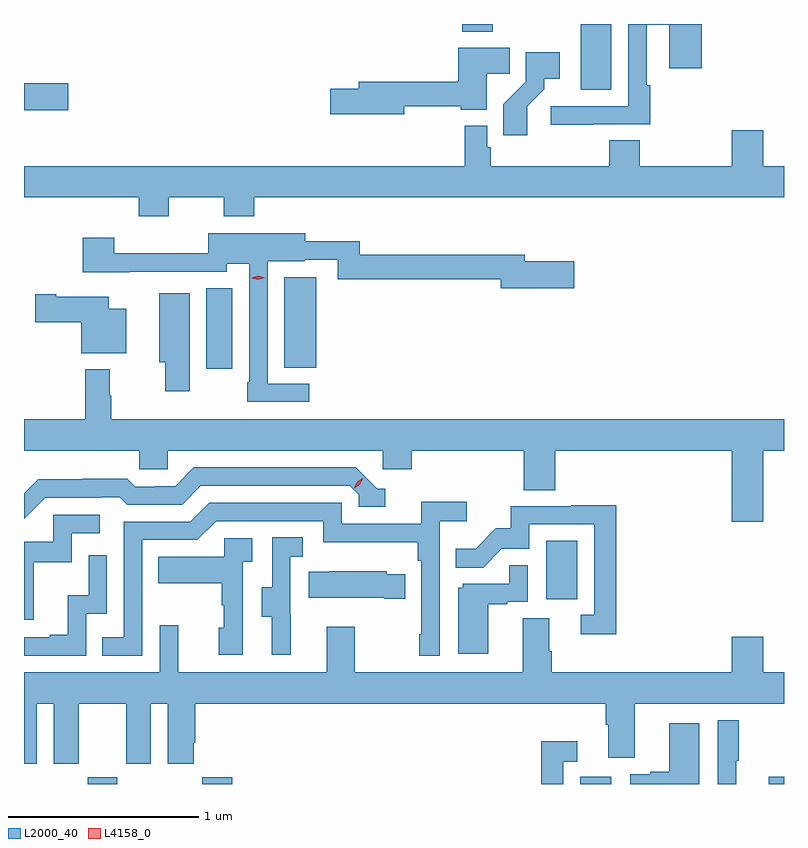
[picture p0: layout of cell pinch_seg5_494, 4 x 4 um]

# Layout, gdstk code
import gdstk
lib = gdstk.Library(unit=1e-6, precision=1e-09)
def R(c, l, rs):  # rectangles x0, y0, x1, y1
    for r in rs: c.add(gdstk.rectangle(r[:2], r[2:], *l))
def P(c, l, *ps):  # polygons
    for p in ps: c.add(gdstk.Polygon(p, *l))
L2000_40 = (2000, 40)
L4158_0 = (4158, 0)

pinch_seg5_494 = lib.new_cell('pinch_seg5_494')
R(pinch_seg5_494, L2000_40, [(892.885,835.025,893.04,835.06), (893.489,835.025,893.645,835.06), (895.478,835.025,895.642,835.063), (896.469,835.025,896.55,835.062), (895.298,835.998,895.462,836.305), (893.51,837.21,893.647,837.635), (893.921,837.217,894.088,837.691), (892.55,838.57,892.783,838.712), (895.481,838.68,895.642,839.025), (894.857,838.985,895.017,839.025)])
P(pinch_seg5_494, L2000_40, [(895.547,838.497),(895.847,838.497),(895.847,838.703),(895.827,838.703),(895.827,839.021),(895.946,839.021),(895.946,838.791),(896.117,838.791),(896.117,839.025),(895.731,839.025),(895.731,838.593),(895.323,838.593),(895.323,838.495),(895.547,838.495)],
  [(894.55,838.593),(894.848,838.593),(894.848,838.574),(894.985,838.574),(894.985,838.762),(895.106,838.762),(895.106,838.9),(894.836,838.9),(894.836,838.721),(894.311,838.721),(894.311,838.685),(894.162,838.685),(894.162,838.55),(894.55,838.55)],
  [(895.198,838.591),(895.288,838.681),(895.288,838.736),(895.369,838.736),(895.369,838.876),(895.191,838.876),(895.191,838.721),(895.072,838.602),(895.072,838.44),(895.198,838.44)],
  [(896.55,838.276),(896.44,838.276),(896.44,838.465),(896.276,838.465),(896.276,838.276),(895.791,838.276),(895.791,838.412),(895.631,838.412),(895.631,838.276),(895.007,838.276),(895.007,838.377),(894.987,838.377),(894.987,838.489),(894.871,838.489),(894.871,838.276),(892.55,838.276),(892.55,838.112),(893.153,838.112),(893.153,838.013),(893.313,838.013),(893.313,838.112),(893.602,838.112),(893.602,838.013),(893.762,838.013),(893.762,838.112),(896.55,838.112)],
  [(894.052,837.132),(893.832,837.132),(893.832,837.776),(894.027,837.776),(894.027,837.783),(894.201,837.783),(894.201,837.682),(895.058,837.682),(895.058,837.635),(895.447,837.635),(895.447,837.777),(895.186,837.777),(895.186,837.811),(894.317,837.811),(894.317,837.882),(894.031,837.882),(894.031,837.925),(893.52,837.925),(893.52,837.818),(893.024,837.818),(893.024,837.901),(892.859,837.901),(892.859,837.719),(893.107,837.719),(893.107,837.72),(893.616,837.72),(893.616,837.764),(893.736,837.764),(893.736,837.139),(893.724,837.139),(893.724,837.036),(894.052,837.036)],
  [(893.422,837.607),(893.261,837.607),(893.261,837.245),(893.293,837.245),(893.293,837.093),(893.422,837.093)],
  [(893.089,837.526),(892.996,837.526),(892.996,837.589),(892.72,837.589),(892.72,837.602),(892.608,837.602),(892.608,837.455),(892.85,837.455),(892.85,837.293),(893.089,837.293)],
  [(896.44,836.78),(896.55,836.78),(896.55,836.944),(893.009,836.944),(893.009,837.068),(893.002,837.068),(893.002,837.208),(892.873,837.208),(892.873,836.944),(892.55,836.944),(892.55,836.78),(893.157,836.78),(893.157,836.682),(893.307,836.682),(893.307,836.78),(894.438,836.78),(894.438,836.682),(894.59,836.682),(894.59,836.78),(895.181,836.78),(895.181,836.572),(895.346,836.572),(895.346,836.78),(896.276,836.78),(896.276,836.406),(896.44,836.406)],
  [(892.662,836.532),(892.955,836.532),(892.955,836.535),(893.054,836.535),(893.093,836.496),(893.382,836.496),(893.481,836.595),(894.264,836.595),(894.312,836.547),(894.312,836.484),(894.451,836.484),(894.451,836.58),(894.408,836.58),(894.297,836.691),(893.444,836.691),(893.345,836.592),(893.238,836.592),(893.238,836.589),(893.135,836.589),(893.093,836.632),(892.86,836.632),(892.86,836.629),(892.624,836.629),(892.55,836.555),(892.55,836.42)],
  [(893.172,836.31),(893.463,836.31),(893.562,836.409),(894.126,836.409),(894.126,836.297),(894.622,836.297),(894.622,836.201),(894.642,836.201),(894.642,835.813),(894.63,835.813),(894.63,835.701),(894.738,835.701),(894.738,836.408),(894.88,836.408),(894.88,836.51),(894.641,836.51),(894.641,836.394),(894.222,836.394),(894.222,836.505),(893.525,836.505),(893.426,836.406),(893.076,836.406),(893.076,835.797),(892.963,835.797),(892.963,835.701),(893.172,835.701)],
  [(895.667,836.492),(895.429,836.492),(895.429,836.487),(895.111,836.487),(895.111,836.37),(895.034,836.37),(894.927,836.263),(894.823,836.263),(894.823,836.164),(894.967,836.164),(895.065,836.262),(895.209,836.262),(895.209,836.391),(895.551,836.391),(895.551,835.917),(895.479,835.917),(895.479,835.812),(895.667,835.812)],
  [(892.601,836.193),(892.8,836.193),(892.8,836.346),(892.948,836.346),(892.948,836.442),(892.704,836.442),(892.704,836.301),(892.55,836.301),(892.55,835.89),(892.601,835.89)],
  [(893.954,835.917),(893.952,835.917),(893.952,836.221),(894.016,836.221),(894.016,836.324),(893.856,836.324),(893.856,836.061),(893.801,836.061),(893.801,835.906),(893.855,835.906),(893.855,835.704),(893.954,835.704)],
  [(893.7,836.195),(893.752,836.195),(893.752,836.319),(893.604,836.319),(893.604,836.221),(893.257,836.221),(893.257,836.081),(893.592,836.081),(893.592,835.967),(893.602,835.967),(893.602,835.848),(893.576,835.848),(893.576,835.704),(893.7,835.704)],
  [(892.878,835.92),(892.986,835.92),(892.986,836.23),(892.89,836.23),(892.89,836.018),(892.781,836.018),(892.781,835.81),(892.685,835.81),(892.685,835.797),(892.55,835.797),(892.55,835.701),(892.878,835.701)],
  [(894.994,835.971),(895.094,835.971),(895.094,835.983),(895.2,835.983),(895.2,836.177),(895.105,836.177),(895.105,836.079),(894.858,836.079),(894.858,836.058),(894.836,836.058),(894.836,835.71),(894.994,835.71)],
  [(894.557,836.128),(894.459,836.128),(894.459,836.146),(894.157,836.146),(894.157,836.143),(894.049,836.143),(894.049,836.006),(894.446,836.006),(894.446,835.999),(894.557,835.999)],
  [(892.618,835.448),(892.706,835.448),(892.706,835.131),(892.837,835.131),(892.837,835.448),(893.087,835.448),(893.087,835.131),(893.218,835.131),(893.218,835.448),(893.306,835.448),(893.306,835.131),(893.443,835.131),(893.443,835.243),(893.45,835.243),(893.45,835.448),(895.613,835.448),(895.613,835.336),(895.625,835.336),(895.625,835.162),(895.765,835.162),(895.765,835.448),(896.55,835.448),(896.55,835.612),(896.44,835.612),(896.44,835.801),(896.276,835.801),(896.276,835.612),(895.328,835.612),(895.328,835.724),(895.315,835.724),(895.315,835.898),(895.175,835.898),(895.175,835.612),(894.291,835.612),(894.291,835.852),(894.143,835.852),(894.143,835.612),(893.363,835.612),(893.363,835.861),(893.265,835.861),(893.265,835.612),(892.55,835.612),(892.55,835.131),(892.618,835.131)],
  [(896.299,835.147),(896.311,835.147),(896.311,835.36),(896.202,835.36),(896.202,835.025),(896.299,835.025)],
  [(896.104,835.345),(895.946,835.345),(895.946,835.09),(895.847,835.09),(895.847,835.077),(895.74,835.077),(895.74,835.025),(896.104,835.025)],
  [(895.389,835.143),(895.462,835.143),(895.462,835.249),(895.273,835.249),(895.273,835.025),(895.389,835.025)])
P(pinch_seg5_494, L4158_0, [(893.784,837.679),(893.749,837.688),(893.749,837.688),(893.749,837.689),(893.783,837.699),(893.818,837.69),(893.819,837.69),(893.818,837.69)],
  [(894.287,836.582),(894.287,836.582),(894.303,836.615),(894.334,836.634),(894.334,836.634),(894.334,836.634),(894.318,836.601),(894.287,836.582)])

lib.write_gds('pinch_seg5_494.gds')
